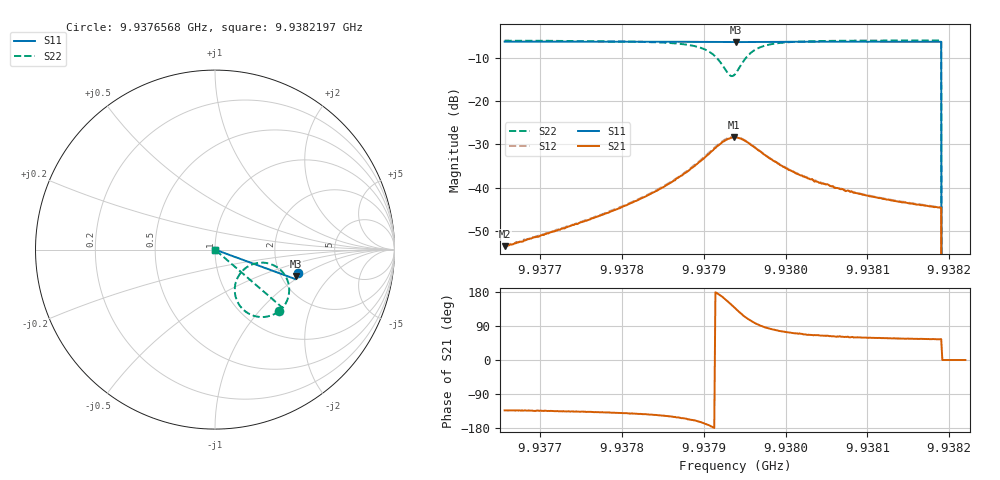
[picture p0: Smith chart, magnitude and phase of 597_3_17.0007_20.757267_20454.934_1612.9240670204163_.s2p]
#  HZ  S  RI  R  50.00
! Rohde & Schwarz Vector Network Analyzer
! Rohde-Schwarz,ZNB20-2Port,1311601062101988,3.16
! Created: UTC 3/20/2024, 11:18:53 PM
! freq[Hz]  re:S11  im:S11  re:S21  im:S21  re:S12  im:S12  re:S22  im:S22
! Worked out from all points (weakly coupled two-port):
!   401 points, 9.9376568 GHz to 9.9382197 GHz, reference 50 ohm
!   highest |S21| = -28.43 dB at 9.9379369 GHz (marker M1); lowest = -53.5 dB at 9.9376568 GHz (marker M2)
!   lowest |S11| = -6.4 dB at 9.9379397 GHz (marker M3), VSWR 2.82, Z = 120 - j45.9 ohm
!   |S11| at or under -10 dB: 9.9381902 GHz to end of sweep
!   |S22| runs from - to -6.1 dB; largest |S21 - S12| = 0.0017
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9.93765681e9  0.4638 -0.1318  -0.00144 -0.00155  -0.00147 -0.00153  0.3565 -0.3429
9.9377511e9  0.4613 -0.1382  -0.00288 -0.00277  -0.00299 -0.00272  0.3388 -0.3549
9.93780317e9  0.4599 -0.1417  -0.00472 -0.00393  -0.00487 -0.00391  0.3198 -0.3642
9.93784539e9  0.4587 -0.1447  -0.00788 -0.00532  -0.00811 -0.00532  0.2907 -0.3733
9.93787213e9  0.4573 -0.1466  -0.0122 -0.00618  -0.0125 -0.00621  0.2545 -0.3755
9.93790027e9  0.4555 -0.1486  -0.0212 -0.00493  -0.022 -0.00461  0.1809 -0.3525
9.93791294e9  0.4544 -0.149  -0.028 -0.000318  -0.0287 0.00029  0.1338 -0.306
9.93792279e9  0.4534 -0.1488  -0.0326 0.00765  -0.033 0.00894  0.1104 -0.2343
9.93793123e9  0.4528 -0.1482  -0.0321 0.0176  -0.0324 0.0193  0.1275 -0.1536
9.93793686e9  0.4531 -0.1477  -0.0289 0.0245  -0.0286 0.0261  0.1657 -0.1067
9.93793827e9  0.4531 -0.1475  -0.0276 0.0257  -0.0272 0.0273  0.178 -0.0976
9.93793968e9  0.453 -0.1473  -0.0263 0.0271  -0.0257 0.0285  0.1909 -0.0901
9.93794671e9  0.4538 -0.1472  -0.0183 0.0312  -0.0175 0.0321  0.2602 -0.0727
9.93795375e9  0.4544 -0.1473  -0.0107 0.0315  -0.00984 0.032  0.3199 -0.0843
9.93796923e9  0.4554 -0.1488  -0.000286 0.0261  0.000362 0.0261  0.3903 -0.1439
9.9380016e9  0.4556 -0.1519  0.00472 0.0159  0.00521 0.0159  0.4132 -0.2314
9.93803256e9  0.455 -0.1545  0.0051 0.0114  0.00531 0.0112  0.4066 -0.2698
9.93807478e9  0.4537 -0.1576  0.00446 0.00802  0.00467 0.00803  0.3958 -0.2955
9.93812685e9  0.4524 -0.1612  0.00388 0.00606  0.00404 0.00607  0.3858 -0.3125
9.93818737e9  0.4507 -0.1651  0.00341 0.00481  0.00353 0.00482  0.3771 -0.3243
9.9381944e9  0 0  0 0  0 0  0 0
9.93821974e9  0 0  0 0  0 0  0 0
